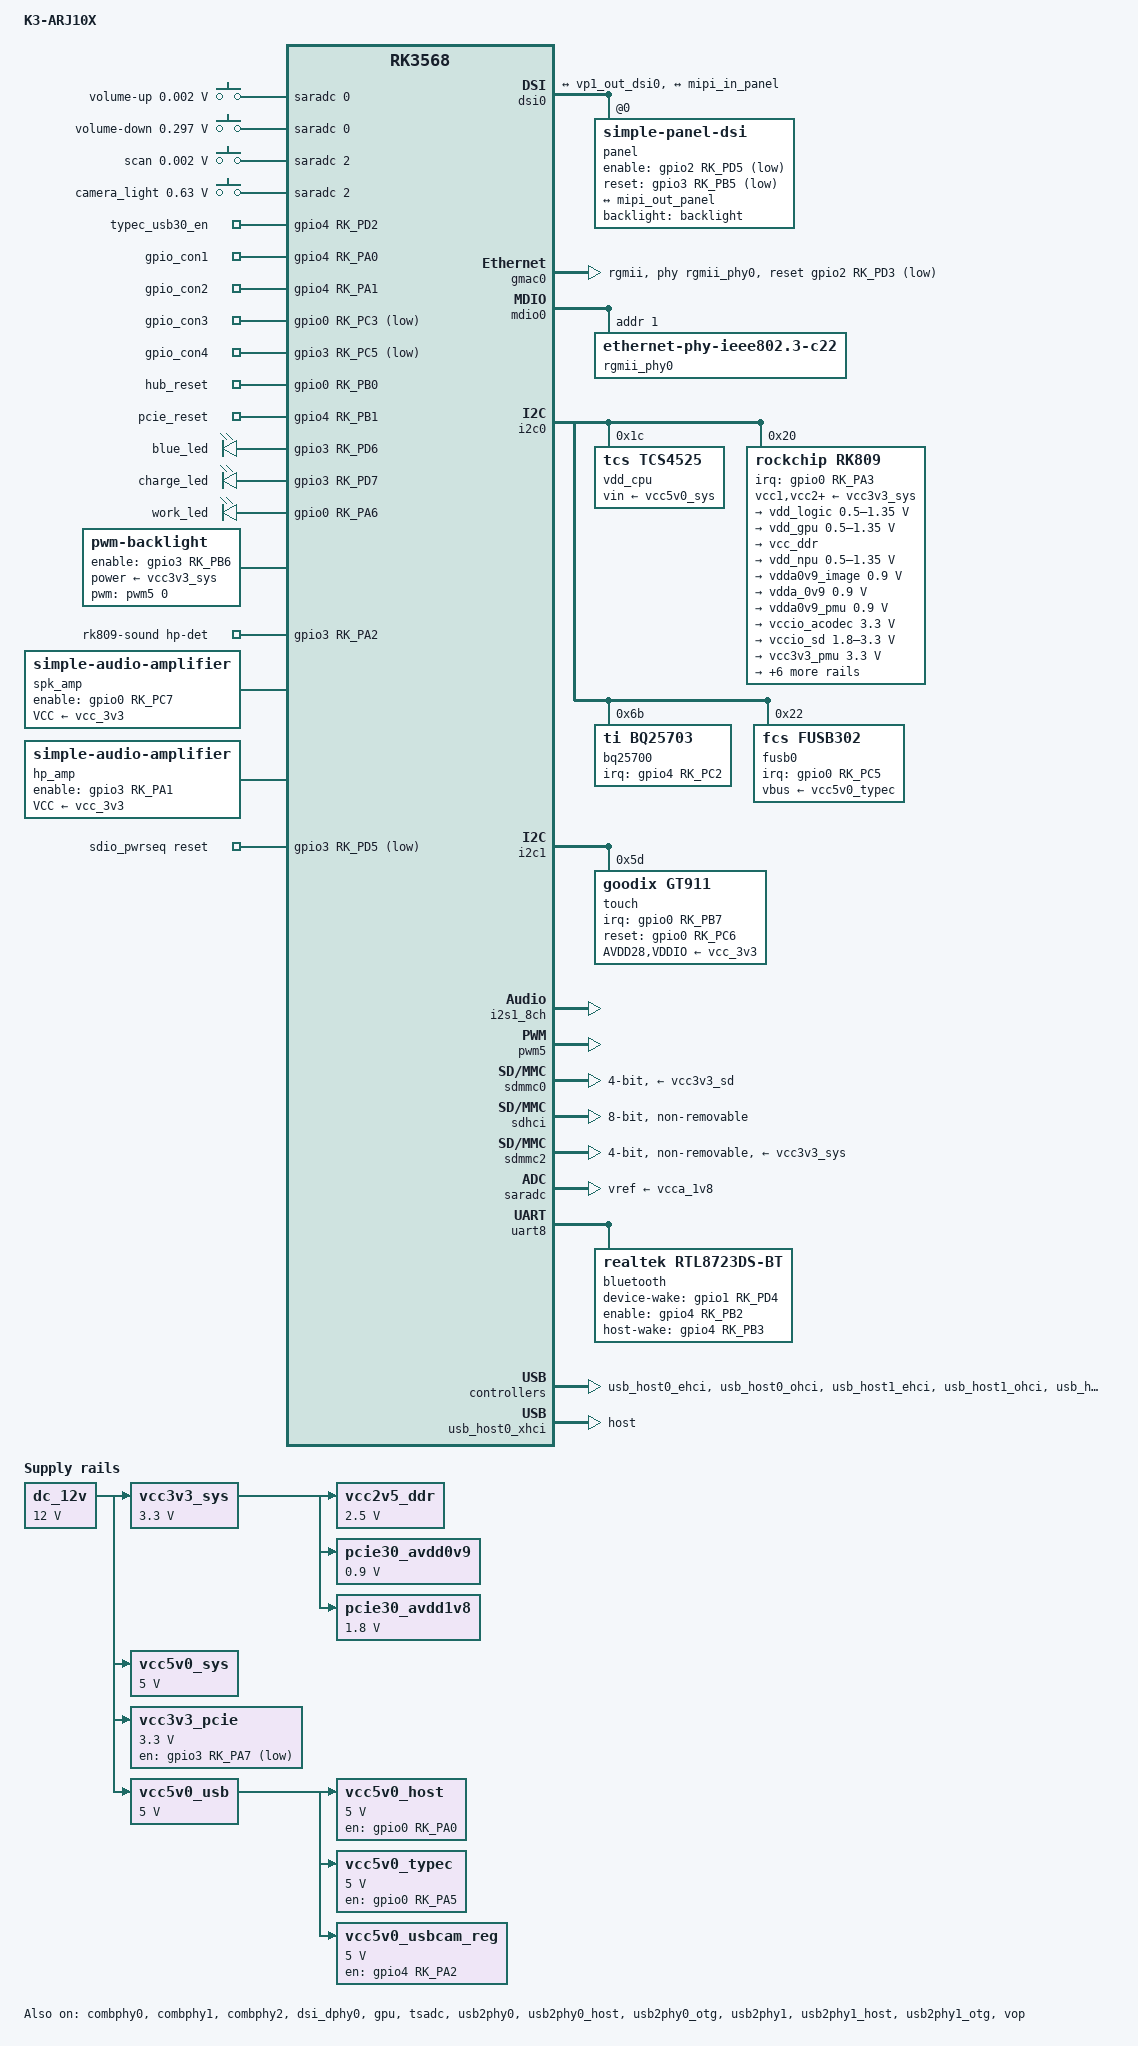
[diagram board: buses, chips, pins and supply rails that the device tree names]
// SPDX-License-Identifier: GPL-2.0-or-later OR MIT
/*
 * Copyright (c) 2025 Serhii Serhieiev <adron@ngnp.net>
 */

/dts-v1/;
#include <dt-bindings/gpio/gpio.h>
#include <dt-bindings/input/input.h>
#include <dt-bindings/leds/common.h>
#include <dt-bindings/pinctrl/rockchip.h>
#include <dt-bindings/soc/rockchip,vop2.h>
#include <dt-bindings/display/drm_mipi_dsi.h>
#include <dt-bindings/usb/pd.h>
#include "rk3568.dtsi"

/ {
	model = "K3-ARJ10X";
	compatible = "k3,-arj10X", "rockchip,rk3568";

	aliases {
		ethernet0 = &gmac0;
		mmc0 = &sdmmc0;
		mmc1 = &sdmmc1;
		mmc2 = &sdhci;
		mmc3 = &sdmmc2;
	};

	chosen: chosen {
		//stdout-path = "serial5:230400n8";
		bootargs = "console=tty0 logo.nologo video=DSI-1:panel_orientation=right_side_up fbcon=rotate:3";
		//bootargs = "console=tty0 console=ttyS0,230400n8 logo.nologo video=DSI-1:panel_orientation=right_side_up fbcon=rotate:3";
		//bootargs = "console=tty0 logo.nologo video=DSI-1:panel_orientation=right_side_up r00t=/dev/mmcblk0p19";
		//bootargs = "console=tty0 logo.nologo video=DSI-1:panel_orientation=right_side_up r00t=/dev/mmcblk0p19 printk.devkmsg=on loglevel=6";
	};

	adc-keys {
		compatible = "adc-keys";
		io-channels = <&saradc 0>;
		io-channel-names = "buttons";
		keyup-threshold-microvolt = <1800000>;
		poll-interval = <100>;

		vol-up-key {
			label = "volume-up";
			linux,code = <KEY_VOLUMEUP>;
			press-threshold-microvolt = <1750>;
		};

		vol-down-key {
			label = "volume-down";
			linux,code = <KEY_VOLUMEDOWN>;
			press-threshold-microvolt = <297500>;
		};
	};

	adc1-keys {
		status = "okay";
		compatible = "adc-keys";
		io-channels = <&saradc 2>;
		io-channel-names = "buttons";
		keyup-threshold-microvolt = <1800000>;
		poll-interval = <100>;

		scan-key {
			label = "scan";
			linux,code = <KEY_COMPUTER>;
			press-threshold-microvolt = <1750>;
		};

		menu-key {
			label = "camera_light";
			linux,code = <KEY_BOOKMARKS>;
			press-threshold-microvolt = <630000>;
		};
	};

	gpio_export {
		compatible = "gpio-export";
		#size-cells = <0>;

		typec-usb30-en { /* Enables USB3.0 on type-C */
			gpio-export,name = "typec_usb30_en";
			gpio-export,output = <0>;
			gpios = <&gpio4 RK_PD2 GPIO_ACTIVE_HIGH>;
		};

		gpio-con1 {
			gpio-export,name = "gpio_con1";
			gpio-export,output = <0>;
			gpios = <&gpio4 RK_PA0 GPIO_ACTIVE_HIGH>;
		};

		gpio-con2 {
			gpio-export,name = "gpio_con2";
			gpio-export,output = <0>;
			gpios = <&gpio4 RK_PA1 GPIO_ACTIVE_HIGH>;
		};

		gpio-con3 {
			gpio-export,name = "gpio_con3";
			gpio-export,output = <0>;
			gpios = <&gpio0 RK_PC3 GPIO_ACTIVE_LOW>;
		};

		gpio-con4 {
			gpio-export,name = "gpio_con4";
			gpio-export,output = <0>;
			gpios = <&gpio3 RK_PC5 GPIO_ACTIVE_LOW>;
		};

		hub-reset { /* Internal USB2.0 4p hub reset */
			gpio-export,name = "hub_reset";
			gpio-export,output = <0>;
			gpios = <&gpio0 RK_PB0 GPIO_ACTIVE_HIGH>;
		};

		pcie-reset { /* PCIe reset */
			gpio-export,name = "pcie_reset";
			gpio-export,output = <1>;
			gpios = <&gpio4 RK_PB1 GPIO_ACTIVE_HIGH>;
		};

	};

	leds {
		status = "okay";
		compatible = "gpio-leds";

		blue-led {
			status = "okay";
			label = "blue_led";
			gpios = <&gpio3 RK_PD6 GPIO_ACTIVE_HIGH>;
			//default-state = "on";
			linux,default-trigger = "heartbeat";
		};

		charge-led {
			status = "okay";
			label = "charge_led";
			gpios = <&gpio3 RK_PD7 GPIO_ACTIVE_HIGH>;
			default-state = "off";
		};

		work-led {
			status = "okay";
			label = "work_led";
			gpios = <&gpio0 RK_PA6 GPIO_ACTIVE_HIGH>;
			default-state = "off";
			//linux,default-trigger = "heartbeat";
		};

	};

	backlight: backlight {
		compatible = "pwm-backlight";
		power-supply = <&vcc3v3_sys>;
		pwms = <&pwm5 0 25000 0>;
		enable-gpios = <&gpio3 RK_PB6 GPIO_ACTIVE_HIGH>;
		pinctrl-names = "default";
		pinctrl-0 = <&lvds_bl_en>;
		brightness-levels = <
			0   20  20  21  21  22  22  23
			23  24  24  25  25  26  26  27
			27  28  28  29  29  30  30  31
			31  32  32  33  33  34  34  35
			35  36  36  37  37  38  38  39
			40  41  42  43  44  45  46  47
			48  49  50  51  52  53  54  55
			56  57  58  59  60  61  62  63
			64  65  66  67  68  69  70  71
			72  73  74  75  76  77  78  79
			80  81  82  83  84  85  86  87
			88  89  90  91  92  93  94  95
			96  97  98  99  100 101 102 103
			104 105 106 107 108 109 110 111
			112 113 114 115 116 117 118 119
			120 121 122 123 124 125 126 127
			128 129 130 131 132 133 134 135
			136 137 138 139 140 141 142 143
			144 145 146 147 148 149 150 151
			152 153 154 155 156 157 158 159
			160 161 162 163 164 165 166 167
			168 169 170 171 172 173 174 175
			176 177 178 179 180 181 182 183
			184 185 186 187 188 189 190 191
			192 193 194 195 196 197 198 199
			200 201 202 203 204 205 206 207
			208 209 210 211 212 213 214 215
			216 217 218 219 220 221 222 223
			224 225 226 227 228 229 230 231
			232 233 234 235 236 237 238 239
			240 241 242 243 244 245 246 247
			248 249 250 251 252 253 254 255>;
		default-brightness-level = <50>;
	};

	rk809-sound {
		compatible = "simple-audio-card";
		pinctrl-0 = <&hp_det>;
		pinctrl-names = "default";
		simple-audio-card,name = "rk809_ext";
		simple-audio-card,aux-devs = <&spk_amp>, <&hp_amp>;
		simple-audio-card,format = "i2s";
		simple-audio-card,hp-det-gpio = <&gpio3 RK_PA2 GPIO_ACTIVE_HIGH>;
		simple-audio-card,mclk-fs = <256>;

		simple-audio-card,widgets =
			"Microphone", "Internal Mic",
			"Microphone", "Mic Jack",
			"Headphone", "Headphones",
			"Speaker", "Internal Speakers";
		simple-audio-card,routing =
			/* Internal mic */
			"MICL", "Internal Mic",
			/* External mic (e.g. headset) */
			"MICR", "Mic Jack",

			/* Headphones amp path */
			"Headphone Amp INL", "HPOL",
			"Headphone Amp INR", "HPOR",
			"Headphones", "Headphone Amp OUTL",
			"Headphones", "Headphone Amp OUTR",

	    /* Speaker amp path */
			"Speaker Amp INL", "HPOL",
			"Speaker Amp INR", "HPOR",
			"Internal Speakers", "Speaker Amp OUTL",
			"Internal Speakers", "Speaker Amp OUTR";

		simple-audio-card,pin-switches = "Internal Speakers";
		simple-audio-card,jack-second-pin = "Internal Speakers";

		simple-audio-card,cpu {
			sound-dai = <&i2s1_8ch>;
		};

		simple-audio-card,codec {
			sound-dai = <&rk809>;
		};
	};

	spk_amp: spk-audio-amplifier {
		compatible = "simple-audio-amplifier";
		enable-gpios = <&gpio0 RK_PC7 GPIO_ACTIVE_HIGH>;
		pinctrl-0 = <&spk_amp_enable_h>;
		pinctrl-names = "default";
		sound-name-prefix = "Speaker Amp";
		VCC-supply = <&vcc_3v3>;
	};

	hp_amp: hp-audio-amplifier {
		compatible = "simple-audio-amplifier";
		enable-gpios = <&gpio3 RK_PA1 GPIO_ACTIVE_HIGH>;
		pinctrl-0 = <&hp_amp_enable_h>;
		pinctrl-names = "default";
		sound-name-prefix = "Headphone Amp";
		VCC-supply = <&vcc_3v3>;
	};

	bt_sco: bt-sco {
		/* Bluetooth-SCO (Synchronous Connection-Oriented link) audio CODEC */
		compatible = "delta,dfbmcs320";
		#sound-dai-cells = <0>;
		//status = "okay";
		status = "disabled";
	};

	bt-sound {
		/* For now I'm just using SCO packets over UART */
		status = "disabled";
		compatible = "simple-audio-card";
		simple-audio-card,format = "dsp_b";
		simple-audio-card,bitclock-inversion;
		simple-audio-card,mclk-fs = <256>;
		simple-audio-card,name = "rockchip,bt";
		//simple-audio-card,bitclock-master = <&sound2_master>;
		//simple-audio-card,frame-master = <&sound2_master>;
		/* simple-audio-card,widgets =
			"Microphone", "RX",
			"Speaker", "TX";
		simple-audio-card,routing =
			"BT_SCO_TX", "RX",
			"TX", "BT_SCO_RX"; */

		sound2_master: simple-audio-card,codec {
			sound-dai = <&bt_sco>;
		};

		simple-audio-card,cpu {
			sound-dai = <&i2s3_2ch>;
		};

	};

	sdio_pwrseq: sdio-pwrseq {
		compatible = "mmc-pwrseq-simple";
		clocks = <&rk809 1>;
		clock-names = "ext_clock";
		pinctrl-names = "default";
		pinctrl-0 = <&wifi_enable_h>;
		post-power-on-delay-ms = <200>;
		power-off-delay-us = <5000000>;
		reset-gpios = <&gpio3 RK_PD5 GPIO_ACTIVE_LOW>;
	};

	/* hdmi-con {
		compatible = "hdmi-connector";
		type = "c";

		port {
			hdmi_con_in: endpoint {
				remote-endpoint = <&hdmi_out_con>;
			};
		};
	}; */

	dc_12v: dc-12v {
		compatible = "regulator-fixed";
		regulator-name = "dc_12v";
		regulator-always-on;
		regulator-boot-on;
		regulator-min-microvolt = <12000000>;
		regulator-max-microvolt = <12000000>;
	};

	vcc3v3_sys: vcc3v3-sys {
		compatible = "regulator-fixed";
		regulator-name = "vcc3v3_sys";
		regulator-always-on;
		regulator-boot-on;
		regulator-min-microvolt = <3300000>;
		regulator-max-microvolt = <3300000>;
		vin-supply = <&dc_12v>;
	};

	vcc5v0_sys: vcc5v0-sys {
		compatible = "regulator-fixed";
		regulator-name = "vcc5v0_sys";
		regulator-always-on;
		regulator-boot-on;
		regulator-min-microvolt = <5000000>;
		regulator-max-microvolt = <5000000>;
		vin-supply = <&dc_12v>;
	};

	vcc2v5_ddr: vcc2v5-ddr {
		compatible = "regulator-fixed";
		regulator-name = "vcc2v5_sys";
		regulator-always-on;
		regulator-boot-on;
		regulator-min-microvolt = <2500000>;
		regulator-max-microvolt = <2500000>;
		vin-supply = <&vcc3v3_sys>;
	};

	pcie30_avdd0v9: pcie30-avdd0v9 {
		compatible = "regulator-fixed";
		regulator-name = "pcie30_avdd0v9";
		regulator-always-on;
		regulator-boot-on;
		regulator-min-microvolt = <900000>;
		regulator-max-microvolt = <900000>;
		vin-supply = <&vcc3v3_sys>;
	};

	pcie30_avdd1v8: pcie30-avdd1v8 {
		compatible = "regulator-fixed";
		regulator-name = "pcie30_avdd1v8";
		regulator-always-on;
		regulator-boot-on;
		regulator-min-microvolt = <1800000>;
		regulator-max-microvolt = <1800000>;
		vin-supply = <&vcc3v3_sys>;
	};

	vcc3v3_pcie: vcc3v3-pcie-reg {
		compatible = "regulator-fixed";
		regulator-name = "vcc3v3_pcie";
		regulator-min-microvolt = <3300000>;
		regulator-max-microvolt = <3300000>;
		gpio = <&gpio3 RK_PA7 GPIO_ACTIVE_HIGH>;
		startup-delay-us = <5000>;
		vin-supply = <&dc_12v>;
		pinctrl-names = "default";
		pinctrl-0 = <&vcc3v3_pcie_en>;
	};

	vcc5v0_usb: vcc5v0-usb {
		compatible = "regulator-fixed";
		regulator-name = "vcc5v0_usb";
		regulator-always-on;
		regulator-boot-on;
		regulator-min-microvolt = <5000000>;
		regulator-max-microvolt = <5000000>;
		vin-supply = <&dc_12v>;
	};

	vcc5v0_host: vcc5v0-host-reg {
		compatible = "regulator-fixed";
		regulator-name = "vcc5v0_host";
		regulator-boot-on;
		regulator-always-on;
		regulator-min-microvolt = <5000000>;
		regulator-max-microvolt = <5000000>;
		enable-active-high;
		gpio = <&gpio0 RK_PA0 GPIO_ACTIVE_HIGH>;
		vin-supply = <&vcc5v0_usb>;
		pinctrl-names = "default";
		pinctrl-0 = <&vcc5v0_host_en>;
	};

	vcc5v0_typec: vcc5v0-typec-reg {
		compatible = "regulator-fixed";
		enable-active-high;
		gpio = <&gpio0 RK_PA5 GPIO_ACTIVE_HIGH>;
		pinctrl-names = "default";
		pinctrl-0 = <&vcc5v0_typec_en>;
		regulator-name = "vcc5v0_typec";
		//regulator-always-on;
		regulator-min-microvolt = <5000000>;
		regulator-max-microvolt = <5000000>;
		vin-supply = <&vcc5v0_usb>;
	};

	vcc5v0_usbcam_reg: vcc5v0-usbcam-reg {
		compatible = "regulator-fixed";
		regulator-name = "vcc5v0_usbcamera";
		regulator-boot-on;
		regulator-always-on;
		regulator-min-microvolt = <5000000>;
		regulator-max-microvolt = <5000000>;
		enable-active-high;
		gpio = <&gpio4 RK_PA2 GPIO_ACTIVE_HIGH>;
		vin-supply = <&vcc5v0_usb>;
		pinctrl-names = "default";
		pinctrl-0 = <&vcc5v0_usbcamera_en>;
	};

};

&combphy0 {
	/* used for USB3 */
	status = "okay";
};

&combphy1 {
	/* used for USB3 */
	status = "okay";
};

&combphy2 {
	/* used for PCIe */
	status = "okay";
};

&cpu0 {
	cpu-supply = <&vdd_cpu>;
};

&cpu1 {
	cpu-supply = <&vdd_cpu>;
};

&cpu2 {
	cpu-supply = <&vdd_cpu>;
};

&cpu3 {
	cpu-supply = <&vdd_cpu>;
};

&dsi_dphy0 {
	status = "okay";
};

&dsi0 {
	status = "okay";

	ports {
		dsi0_in: port@0 {
			reg = <0>;
			dsi0_in_vp1: endpoint {
				remote-endpoint = <&vp1_out_dsi0>;
			};
		};

		dsi0_out: port@1 {
			reg = <1>;
			mipi_out_panel: endpoint {
				remote-endpoint = <&mipi_in_panel>;
			};
		};
	};

	panel: panel@0 {
		compatible = "simple-panel-dsi";
		reg = <0>;

		backlight = <&backlight>;
    enable-gpios = <&gpio2 RK_PD5 GPIO_ACTIVE_LOW>;
		reset-gpios = <&gpio3 RK_PB5 GPIO_ACTIVE_LOW>;

		pinctrl-names = "default";
		pinctrl-0 = <&lcd_rst &lcd_en>;

		reset-delay-ms = <60>;
		enable-delay-ms = <60>;
		prepare-delay-ms = <60>;
		unprepare-delay-ms = <60>;
		init-delay-ms = <120>;
		disable-delay-ms = <60>;

		width-mm = <135>;
		height-mm = <216>;

		dsi,flags = <(MIPI_DSI_MODE_VIDEO | MIPI_DSI_MODE_VIDEO_BURST |
			      MIPI_DSI_MODE_LPM | MIPI_DSI_MODE_NO_EOT_PACKET)>;

		dsi,format = <MIPI_DSI_FMT_RGB888>;
		dsi,lanes = <4>;

		panel-init-sequence = [
			05 78 01 11
			05 1E 01 29
		];
		panel-exit-sequence = [
			05 00 01 28
			05 00 01 10
		];

		display-timings {
			native-mode = <&timing0>;

			timing0: timing0 {
				clock-frequency = <159000000>;
				hactive = <1200>;
				vactive = <1920>;

				hfront-porch = <60>;
				hsync-len = <24>;
				hback-porch = <80>;

				vfront-porch = <14>;
				vsync-len = <2>;
				vback-porch = <10>;

				hsync-active = <0>;
				vsync-active = <0>;
				de-active = <0>;
				pixelclk-active = <0>;
			};
		};

		port {
			mipi_in_panel: endpoint {
				remote-endpoint = <&mipi_out_panel>;
			};
		};
	};
};

&gpu {
	mali-supply = <&vdd_gpu>;
	status = "okay";
};

/* &hdmi {
	status = "okay";
};

&hdmi_in {
	hdmi_in_vp0: endpoint {
		remote-endpoint = <&vp0_out_hdmi>;
	};
};

&hdmi_out {
	hdmi_out_con: endpoint {
		remote-endpoint = <&hdmi_con_in>;
	};
}; */

&gmac0 {
	assigned-clocks = <&cru SCLK_GMAC0_RX_TX>, <&cru SCLK_GMAC0>;
	assigned-clock-parents = <&cru SCLK_GMAC0_RGMII_SPEED>;
	assigned-clock-rates = <0>, <125000000>;
	clock_in_out = "output";
	phy-handle = <&rgmii_phy0>;
	phy-mode = "rgmii";

	pinctrl-names = "default";
	pinctrl-0 = <&gmac0_miim
     &gmac0_tx_bus2_level3
     &gmac0_rx_bus2
     &gmac0_rgmii_clk_level2
     &gmac0_rgmii_bus_level3>;

	snps,reset-gpio = <&gpio2 RK_PD3 GPIO_ACTIVE_LOW>;
	snps,reset-active-low;
	/* Reset time is 20ms, 100ms for XXX */
	snps,reset-delays-us = <0 20000 100000>;

	tx_delay = <0x46>;
	rx_delay = <0x2f>;

	status = "okay";
};

&mdio0 {
	rgmii_phy0: ethernet-phy@1 {
		compatible = "ethernet-phy-ieee802.3-c22";
		reg = <1>;
	};
};

&i2c0 {
	status = "okay";

	vdd_cpu: regulator@1c {
		compatible = "tcs,tcs4525";
		reg = <0x1c>;
		regulator-compatible = "fan53555-reg";
		fcs,suspend-voltage-selector = <1>;
		regulator-name = "vdd_cpu";
		regulator-min-microvolt = <712500>;
		regulator-max-microvolt = <1390000>;
		regulator-init-microvolt = <900000>;
		regulator-ramp-delay = <2300>;
		regulator-always-on;
		regulator-boot-on;
		vin-supply = <&vcc5v0_sys>;

		regulator-state-mem {
			regulator-off-in-suspend;
		};
	};

	rk809: pmic@20 {
		compatible = "rockchip,rk809";
		reg = <0x20>;

		interrupt-parent = <&gpio0>;
		interrupts = <RK_PA3 IRQ_TYPE_LEVEL_LOW>;

		assigned-clocks = <&cru I2S1_MCLKOUT_TX>;
		assigned-clock-parents = <&cru CLK_I2S1_8CH_TX>;
		#sound-dai-cells = <0>;

		#clock-cells = <1>;
		clock-names = "mclk";
		clocks = <&cru I2S1_MCLKOUT_TX>;

		pinctrl-names = "default";
		pinctrl-0 = <&pmic_int>, <&i2s1m0_mclk>;

		rockchip,system-power-controller;
		wakeup-source;

		vcc1-supply = <&vcc3v3_sys>;
		vcc2-supply = <&vcc3v3_sys>;
		vcc3-supply = <&vcc3v3_sys>;
		vcc4-supply = <&vcc3v3_sys>;
		vcc5-supply = <&vcc3v3_sys>;
		vcc6-supply = <&vcc3v3_sys>;
		vcc7-supply = <&vcc3v3_sys>;
		vcc8-supply = <&vcc3v3_sys>;
		vcc9-supply = <&vcc3v3_sys>;

		regulators {
			vdd_logic: DCDC_REG1 {
				regulator-name = "vdd_logic";
				regulator-always-on;
				regulator-boot-on;
				regulator-init-microvolt = <900000>;
				regulator-initial-mode = <2>;
				regulator-min-microvolt = <500000>;
				regulator-max-microvolt = <1350000>;
				regulator-ramp-delay = <6001>;

				regulator-state-mem {
					regulator-off-in-suspend;
				};
			};

			vdd_gpu: DCDC_REG2 {
				regulator-always-on;
				regulator-boot-on;
				regulator-name = "vdd_gpu";
				regulator-init-microvolt = <900000>;
				regulator-initial-mode = <2>;
				regulator-min-microvolt = <500000>;
				regulator-max-microvolt = <1350000>;
				regulator-ramp-delay = <6001>;

				regulator-state-mem {
					regulator-off-in-suspend;
				};
			};

			vcc_ddr: DCDC_REG3 {
				regulator-name = "vcc_ddr";
				regulator-always-on;
				regulator-boot-on;
				regulator-initial-mode = <2>;

				regulator-state-mem {
					regulator-on-in-suspend;
				};
			};

			vdd_npu: DCDC_REG4 {
				regulator-name = "vdd_npu";
				regulator-init-microvolt = <900000>;
				regulator-initial-mode = <2>;
				regulator-min-microvolt = <500000>;
				regulator-max-microvolt = <1350000>;
				regulator-ramp-delay = <6001>;

				regulator-state-mem {
					regulator-off-in-suspend;
				};
			};

			vdda0v9_image: LDO_REG1 {
				regulator-boot-on;
				regulator-always-on;
				regulator-name = "vdda0v9_image";
				regulator-min-microvolt = <900000>;
				regulator-max-microvolt = <900000>;

				regulator-state-mem {
					regulator-off-in-suspend;
				};
			};

			vdda_0v9: LDO_REG2 {
				regulator-name = "vdda_0v9";
				regulator-always-on;
				regulator-boot-on;
				regulator-min-microvolt = <900000>;
				regulator-max-microvolt = <900000>;

				regulator-state-mem {
					regulator-off-in-suspend;
				};
			};

			vdda0v9_pmu: LDO_REG3 {
				regulator-name = "vdda0v9_pmu";
				regulator-always-on;
				regulator-boot-on;
				regulator-min-microvolt = <900000>;
				regulator-max-microvolt = <900000>;

				regulator-state-mem {
					regulator-on-in-suspend;
					regulator-suspend-microvolt = <900000>;
				};
			};

			vccio_acodec: LDO_REG4 {
				regulator-always-on;
				regulator-boot-on;
				regulator-name = "vccio_acodec";
				regulator-min-microvolt = <3300000>;
				regulator-max-microvolt = <3300000>;

				regulator-state-mem {
					regulator-off-in-suspend;
				};
			};

			vccio_sd: LDO_REG5 {
				regulator-name = "vccio_sd";
				regulator-always-on;
				regulator-boot-on;
				regulator-min-microvolt = <1800000>;
				regulator-max-microvolt = <3300000>;

				regulator-state-mem {
					regulator-off-in-suspend;
				};
			};

			vcc3v3_pmu: LDO_REG6 {
				regulator-name = "vcc3v3_pmu";
				regulator-always-on;
				regulator-boot-on;
				regulator-min-microvolt = <3300000>;
				regulator-max-microvolt = <3300000>;

				regulator-state-mem {
					regulator-on-in-suspend;
					regulator-suspend-microvolt = <3300000>;
				};
			};

			vcca_1v8: LDO_REG7 {
				regulator-name = "vcca_1v8";
				regulator-always-on;
				regulator-boot-on;
				regulator-min-microvolt = <1800000>;
				regulator-max-microvolt = <1800000>;

				regulator-state-mem {
					regulator-off-in-suspend;
				};
			};

			vcca1v8_pmu: LDO_REG8 {
				regulator-name = "vcca1v8_pmu";
				regulator-always-on;
				regulator-boot-on;
				regulator-min-microvolt = <1800000>;
				regulator-max-microvolt = <1800000>;

				regulator-state-mem {
					regulator-on-in-suspend;
					regulator-suspend-microvolt = <1800000>;
				};
			};

			vcca1v8_image: LDO_REG9 {
				regulator-always-on;
				regulator-boot-on;
				regulator-name = "vcca1v8_image";
				regulator-min-microvolt = <1800000>;
				regulator-max-microvolt = <1800000>;

				regulator-state-mem {
					regulator-off-in-suspend;
				};
			};

			vcc_1v8: DCDC_REG5 {
				regulator-always-on;
				regulator-boot-on;
				regulator-min-microvolt = <1800000>;
				regulator-max-microvolt = <1800000>;
				regulator-name = "vcc_1v8";
				regulator-state-mem {
					regulator-off-in-suspend;
				};
			};

			vcc_3v3: SWITCH_REG1 {
				regulator-name = "vcc_3v3";
				regulator-always-on;
				regulator-boot-on;

				regulator-state-mem {
					regulator-off-in-suspend;
				};
			};

			vcc3v3_sd: SWITCH_REG2 {
				regulator-name = "vcc3v3_sd";
				regulator-always-on;
				regulator-boot-on;

				regulator-state-mem {
					regulator-off-in-suspend;
				};
			};
		};

	};

	bq25700@6b {
		status = "okay";
		compatible = "ti,bq25703";
		reg = <0x6b>;
		interrupt-parent = <&gpio4>;
		interrupts = <RK_PC2 IRQ_TYPE_LEVEL_LOW>;
		pinctrl-names = "default";
		pinctrl-0 = <&charger_ok_int>;
		ti,charge-current = <1472000>;
		ti,max-input-voltage = <19520000>;
		ti,max-charge-voltage = <8704000>;	// >100%
		ti,pct80-charge-voltage = <8256000>; // ~75-80%
		ti,charge-term-current = <300000>;
		ti,vigilant-thread-period = <30>;
		ti,input-current-sdp = <5000000>; // actual current limit
		ti,input-current-dcp = <2000000>; // do not used
		ti,input-current-cdp = <2000000>; // do not used
		ti,minimum-sys-voltage = <7296000>; // ~20%
		ti,otg-voltage = <5000000>; // do not used
		ti,otg-current = <1500000>; // do not used
		pd-charge-only = <0>;

		ocv_table_mv = <7296
			7360 7424 7488 7552 7616
			7680 7744 7808 7872 7936
			8000 8064 8128 8192 8256
			8320 8384 8448 8512 8576>;
		ocv_table_ma = <192
			256	 320	384	 448	512
			576	 640	704	 768	832
			896	 960	1024 1088 1152
			1216 1280 1344 1408 1472>; // 100..80%

		charge-full-design-microamp-hours = <6000000>;
	};

	fusb0: fusb30x@22 {
		compatible = "fcs,fusb302";
		reg = <0x22>;
		interrupt-parent = <&gpio0>;
		interrupts = <RK_PC5 IRQ_TYPE_LEVEL_LOW>;
		pinctrl-names = "default";
		pinctrl-0 = <&fusb0_int>;
		vbus-supply = <&vcc5v0_typec>;
		//usb30-switch-gpios = <&gpio4 RK_PD2 GPIO_ACTIVE_HIGH>; // typec_usb30_en
		status = "okay";

		fusb0_conn: connector {
			compatible = "usb-c-connector";
			data-role = "dual";
			label = "USB-C";
			op-sink-microwatt = <1000000>;
			power-role = "dual";
			try-power-role = "sink";
			sink-pdos =
				<PDO_FIXED(5000, 2500, PDO_FIXED_USB_COMM)>;
			source-pdos =
				<PDO_FIXED(5000, 1400, PDO_FIXED_USB_COMM)>;
		};

	};

};

&i2c1 {
	status = "okay";

	touch: touchscreen@5d {
		compatible = "goodix,gt911";
		reg = <0x5d>;
		interrupt-parent = <&gpio0>;
		interrupts = <RK_PB7 IRQ_TYPE_LEVEL_LOW>;
		AVDD28-supply = <&vcc_3v3>;
		VDDIO-supply = <&vcc_3v3>;
		pinctrl-0 = <&touch_int>, <&touch_rst>;
		pinctrl-names = "default";
		irq-gpios = <&gpio0 RK_PB7 GPIO_ACTIVE_HIGH>;
		reset-gpios = <&gpio0 RK_PC6 GPIO_ACTIVE_HIGH>;
		status = "okay";
	};
};

&i2c2 {
	status = "disabled";
};

&i2c5 {
	status = "disabled";

	/* Without a backup RTC battery connected, this chip is useless */
	hym8563: rtc@51 {
		status = "disabled";
		compatible = "haoyu,hym8563";
		reg = <0x51>;
		interrupt-parent = <&gpio0>;
		interrupts = <RK_PD3 IRQ_TYPE_LEVEL_LOW>;
		#clock-cells = <0>;
		clock-output-names = "rtcic_32kout";
		pinctrl-names = "default";
		pinctrl-0 = <&hym8563_int>;
		wakeup-source;
	};

};

&i2s0_8ch {
	/* HDMI */
	status = "disabled";
};

&i2s1_8ch {
	/* PMIC RK809 */
	pinctrl-names = "default";
	pinctrl-0 = <&i2s1m0_sclktx
		     &i2s1m0_lrcktx
		     &i2s1m0_sdi0
		     &i2s1m0_sdo0>;
	rockchip,trcm-sync-tx-only;
	status = "okay";
};

&i2s3_2ch {
	/* RTL8723DS Bluetooth */
	rockchip,trcm-sync-tx-only; /* common for PCM mode */
	pinctrl-names = "default";
	pinctrl-0 = <&i2s3m1_sclk
		     &i2s3m1_lrck
		     &i2s3m1_sdi
		     &i2s3m1_sdo>;
	//status = "okay";
	/* For now I'm just using SCO packets over UART */
	status = "disabled";
};

&pinctrl {
	pmic {
		pmic_int: pmic-int {
			rockchip,pins = <0 RK_PA3 RK_FUNC_GPIO &pcfg_pull_up>;
		};
	};

	usb {
		vcc5v0_host_en: vcc5v0-host-en {
			rockchip,pins = <0 RK_PA0 RK_FUNC_GPIO &pcfg_pull_none>;
		};

		vcc5v0_usbcamera_en: vcc5v0-usbcamera-en {
			rockchip,pins = <4 RK_PA2 RK_FUNC_GPIO &pcfg_pull_none>;
		};

	};

	pcie {
		vcc3v3_pcie_en: vcc3v3-pcie-en {
			rockchip,pins = <3 RK_PA7 RK_FUNC_GPIO &pcfg_pull_none>;
		};

	};

	fusb30x {
		fusb0_int: fusb0-int {
			rockchip,pins = <0 RK_PC5 RK_FUNC_GPIO &pcfg_pull_up>;
		};

		vcc5v0_typec_en: vcc5v0_typec_en {
			rockchip,pins = <0 RK_PA5 RK_FUNC_GPIO &pcfg_pull_up>;
		};
	};

	backlight_bl {
		lvds_bl_en: lvds-bl-en {
			rockchip,pins = <3 RK_PB6 RK_FUNC_GPIO &pcfg_pull_down>;
		};
	};

	charger {
		charger_ok_int: charger-ok-int {
			rockchip,pins = <4 RK_PC2 RK_FUNC_GPIO &pcfg_pull_up>;
		};
	};

	hym8563 {
		hym8563_int: hym8563-int {
			rockchip,pins = <0 RK_PD3 RK_FUNC_GPIO &pcfg_pull_up>;
		};
	};

	touch {
		touch_int: touch-int {
			rockchip,pins =
				<0 RK_PB7 RK_FUNC_GPIO &pcfg_pull_up>;
		};

		touch_rst: touch-rst {
			rockchip,pins =
				<0 RK_PC6 RK_FUNC_GPIO &pcfg_pull_none>;
		};
	};

	sdio-pwrseq {
		wifi_enable_h: wifi-enable-h {
			rockchip,pins = <3 RK_PD5 RK_FUNC_GPIO &pcfg_pull_none>;
		};
	};

	bluetooth {
		bt_reg_on: bt-reg-on { /* enable-gpios */
			rockchip,pins = <4 RK_PB2 RK_FUNC_GPIO &pcfg_pull_none>;
		};

		bt_wake_host: bt-wake-host { /* host-wake-gpios */
			rockchip,pins = <4 RK_PB3 RK_FUNC_GPIO &pcfg_pull_down>;
		};

		host_wake_bt: host-wake-bt { /* device-wake-gpios */
			rockchip,pins = <1 RK_PD4 RK_FUNC_GPIO &pcfg_pull_none>;
		};
	};

	audio-amplifiers {
		spk_amp_enable_h: spk-amp-enable-h {
			rockchip,pins =
				<0 RK_PC7 RK_FUNC_GPIO &pcfg_pull_none>;
		};

		hp_amp_enable_h: hp-amp-enable-h {
			rockchip,pins =
				<3 RK_PA1 RK_FUNC_GPIO &pcfg_pull_none>;
		};

	};

	hp-detect {
		hp_det: hp-det {
			rockchip,pins =
				<3 RK_PA2 RK_FUNC_GPIO &pcfg_pull_down>;
		};
	};

	lcd {
		lcd_rst: lcd-rst-gpio {
			rockchip,pins = <3 RK_PB5 RK_FUNC_GPIO &pcfg_pull_none>;
		};

		lcd_en: lcd-enable-gpio {
			rockchip,pins = <2 RK_PD5 RK_FUNC_GPIO &pcfg_pull_none>;
		};
	};

};

&pmu_io_domains {
	//pmuio1-supply = <&vcc3v3_pmu>;
	pmuio2-supply = <&vcc3v3_pmu>;
	vccio1-supply = <&vccio_acodec>;
	//vccio2-supply = <&vcc_1v8>;
	vccio3-supply = <&vccio_sd>;
	vccio4-supply = <&vcc_1v8>;
	vccio5-supply = <&vcc_3v3>;
	vccio6-supply = <&vcc_1v8>;
	vccio7-supply = <&vcc_3v3>;
	status = "okay";
};

&pwm5 {
	status = "okay";
};

&sdmmc0 { /* SD-card slot - mmc0 */
	bus-width = <4>;
	cap-mmc-highspeed;
	cap-sd-highspeed;
	disable-wp;
	sd-uhs-sdr104;
	supports-sd;
	pinctrl-names = "default";
	pinctrl-0 = <&sdmmc0_bus4 &sdmmc0_clk &sdmmc0_cmd &sdmmc0_det>;
	vmmc-supply = <&vcc3v3_sd>;
	vqmmc-supply = <&vccio_sd>;
	status = "okay";
};

&sdhci { /* eMMC - mmc2 */
	bus-width = <8>;
	supports-emmc;
	non-removable;
	max-frequency = <200000000>;
	status = "okay";
};

&sdmmc2 { /* WiFi - mmc3 */
	bus-width = <4>;
	disable-wp;
	cap-sd-highspeed;
	cap-sdio-irq;
	keep-power-in-suspend;
	mmc-pwrseq = <&sdio_pwrseq>;
	non-removable;
	pinctrl-names = "default";
	pinctrl-0 = <&sdmmc2m0_bus4 &sdmmc2m0_cmd &sdmmc2m0_clk>;
	sd-uhs-sdr104;
	vmmc-supply = <&vcc3v3_sys>;
	vqmmc-supply = <&vcc_1v8>;
	status = "okay";
};

&tsadc {
	status = "okay";
};

&saradc {
	vref-supply = <&vcca_1v8>;
	status = "okay";
};

&uart2 { /* FIQ0 + earlycon */
	status = "disabled";
};

&uart5 { /* DB9 connector */
	status = "disabled";
	pinctrl-0 = <&uart5m1_xfer>;
	pinctrl-names = "default";
};

&uart8 {
	pinctrl-names = "default";
	pinctrl-0 = <&uart8m0_xfer &uart8m0_ctsn &uart8m0_rtsn>;
	status = "okay";
	uart-has-rtscts;

	bluetooth {
		compatible = "realtek,rtl8723ds-bt";
		device-wake-gpios = <&gpio1 RK_PD4 GPIO_ACTIVE_HIGH>;
		enable-gpios = <&gpio4 RK_PB2 GPIO_ACTIVE_HIGH>;
		host-wake-gpios = <&gpio4 RK_PB3 GPIO_ACTIVE_HIGH>; // useless
		pinctrl-names = "default";
		pinctrl-0 = <&bt_reg_on &bt_wake_host &host_wake_bt>;
	};
};

&usb_host0_ehci {
	status = "okay";
};

&usb_host0_ohci {
	status = "okay";
};

&usb_host0_xhci {
	//dr_mode = "otg";
	dr_mode = "host";
	extcon = <&usb2phy0>;

	status = "okay";
};

&usb_host1_ehci {
	status = "okay";
};

&usb_host1_ohci {
	status = "okay";
};

&usb_host1_xhci {
	status = "okay";
};

/* USB OTG/USB Host_1 USB 2.0 Comb */
&usb2phy0 {
	status = "okay";
};

&usb2phy0_host {
	status = "okay";
	phy-supply = <&vcc5v0_host>;
};

&usb2phy0_otg {
	status = "okay";
};

/* USB Host_2/USB Host_3 USB 2.0 Comb */
&usb2phy1 {
	status = "okay";
};

&usb2phy1_host {
	status = "okay";
};

&usb2phy1_otg {
	status = "okay";
	phy-supply = <&vcc5v0_host>;
};

&cru {
	assigned-clocks = <&pmucru CLK_RTC_32K>, <&cru PLL_GPLL>, <&pmucru PLL_PPLL>,
		<&cru PLL_VPLL>;
	assigned-clock-rates = <32768>, <1200000000>, <200000000>,
		<298000000>;
};

&vop {
	assigned-clocks = <&cru DCLK_VOP0>, <&cru DCLK_VOP1>;
	assigned-clock-parents = <&pmucru PLL_HPLL>, <&cru PLL_VPLL>;
	status = "okay";
};

&vop_mmu {
	status = "okay";
};

/* &vp0 {
	vp0_out_hdmi: endpoint@ROCKCHIP_VOP2_EP_HDMI0 {
		reg = <ROCKCHIP_VOP2_EP_HDMI0>;
		remote-endpoint = <&hdmi_in_vp0>;
	};
}; */

&vp1 {
	vp1_out_dsi0: endpoint@ROCKCHIP_VOP2_EP_MIPI0 {
		reg = <ROCKCHIP_VOP2_EP_MIPI0>;
		remote-endpoint = <&dsi0_in_vp1>;
	};
};
